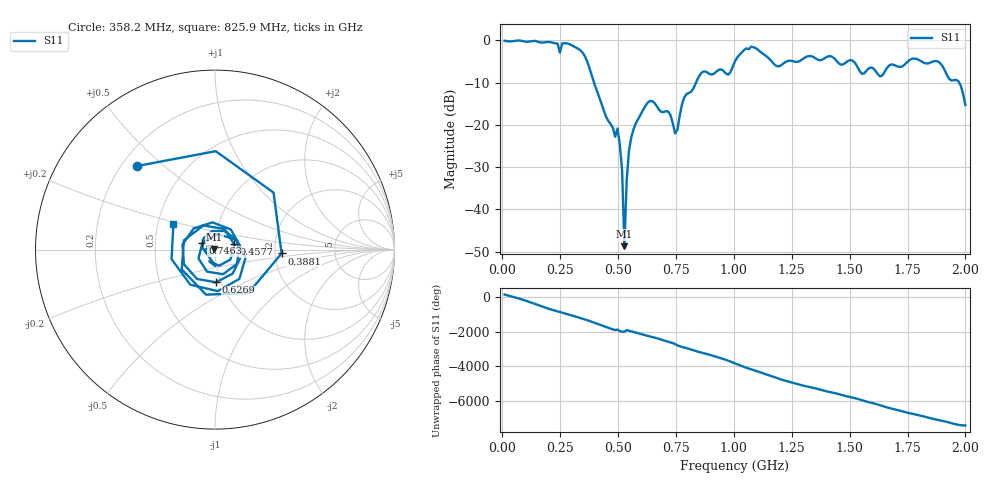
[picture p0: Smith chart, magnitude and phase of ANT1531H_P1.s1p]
!Created with skrf (http://scikit-rf.org).
# Hz S RI R 50.0
!freq ReS11 ImS11
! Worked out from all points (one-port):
!   201 points, 10 MHz to 2 GHz, reference 50 ohm
!   lowest |S11| = -48.7 dB at 527.4 MHz (marker M1), VSWR 1.01, Z = 49.7 + j0.171 ohm
!   |S11| at or under -10 dB: 396.3 MHz to 836.6 MHz (440.3 MHz wide, 71.4 % of centre); 1.973 GHz to end of sweep
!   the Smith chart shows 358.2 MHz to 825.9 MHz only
!   S11 on the Smith chart (normalised r, x): 358.2 MHz: 0.26, +0.41; 388.1 MHz: 2.18, -0.11; 457.8 MHz: 1.24, +0.07; 626.9 MHz: 0.95, -0.36; 746.3 MHz: 0.87, +0.07; 825.9 MHz: 0.60, +0.18
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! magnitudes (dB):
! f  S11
! 10 MHz  -0.1
! 258.8 MHz  -0.7
! 358.2 MHz  -3.9
! 388.1 MHz  -8.6
! 457.8 MHz  -19.0
! 497.6 MHz  -20.8
! 507.5 MHz  -24.6
! 517.5 MHz  -30.8
! 527.4 MHz  -48.7
! 537.4 MHz  -33.0
! 547.3 MHz  -26.0
! 626.9 MHz  -14.8
! 716.5 MHz  -16.8
! 746.3 MHz  -22.0
! 756.2 MHz  -21.2
! 786.1 MHz  -13.5
! 825.9 MHz  -11.3
! 865.7 MHz  -7.4
! 1.005 GHz  -4.9
! 1.075 GHz  -1.5
! 1.184 GHz  -6.1
! 1.254 GHz  -4.9
! 1.502 GHz  -4.7
! 1.632 GHz  -8.5
! 1.751 GHz  -5.0
! 1.891 GHz  -5.3
! 1.97 GHz  -9.7
! 2 GHz  -15.3
